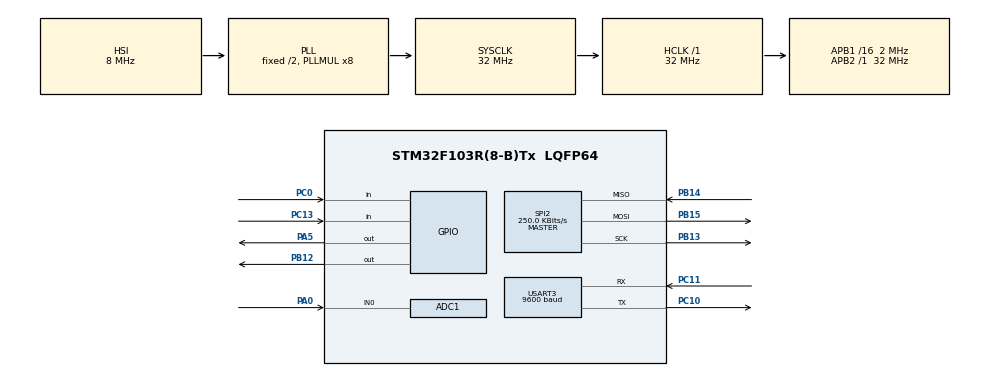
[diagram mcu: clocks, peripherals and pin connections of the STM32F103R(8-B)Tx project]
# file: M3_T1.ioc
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ADC1.Channel-1\#ChannelRegularConversion=ADC_CHANNEL_0
ADC1.ContinuousConvMode=DISABLE
ADC1.EnableRegularConversion=ENABLE
ADC1.NbrOfConversionFlag=1
ADC1.Rank-1\#ChannelRegularConversion=1
ADC1.SamplingTime-1\#ChannelRegularConversion=ADC_SAMPLETIME_1CYCLE_5
ADC1.master=1
Mcu.Family=STM32F1
Mcu.Name=STM32F103R(8-B)Tx
Mcu.Package=LQFP64
NVIC.ADC1_2_IRQn=true\:0\:0\:false\:false\:true\:true\:true\:true
NVIC.PriorityGroup=NVIC_PRIORITYGROUP_4
NVIC.SPI2_IRQn=true\:0\:0\:false\:false\:true\:true\:true\:true
NVIC.USART3_IRQn=true\:0\:0\:false\:false\:true\:true\:true\:true
PA0-WKUP.Signal=ADCx_IN0
PA5.Signal=GPIO_Output
PB12.Signal=GPIO_Output
PB13.Mode=Full_Duplex_Master
PB13.Signal=SPI2_SCK
PB14.Mode=Full_Duplex_Master
PB14.Signal=SPI2_MISO
PB15.Mode=Full_Duplex_Master
PB15.Signal=SPI2_MOSI
PC0.GPIO_PuPd=GPIO_PULLUP
PC0.Signal=GPIO_Input
PC10.Mode=Asynchronous
PC10.Signal=USART3_TX
PC11.Mode=Asynchronous
PC11.Signal=USART3_RX
PC13-TAMPER-RTC.Signal=GPIO_Input
ProjectManager.HeapSize=0x200
ProjectManager.StackSize=0x400
ProjectManager.TargetToolchain=STM32CubeIDE
RCC.ADCPresc=RCC_ADCPCLK2_DIV4
RCC.AHBFreq_Value=32000000
RCC.APB1CLKDivider=RCC_HCLK_DIV16
RCC.APB1Freq_Value=2000000
RCC.APB1TimFreq_Value=4000000
RCC.APB2Freq_Value=32000000
RCC.APB2TimFreq_Value=32000000
RCC.HCLKFreq_Value=32000000
RCC.PLLMUL=RCC_PLL_MUL8
RCC.SYSCLKFreq_VALUE=32000000
RCC.SYSCLKSource=RCC_SYSCLKSOURCE_PLLCLK
RCC.USBFreq_Value=32000000
SH.ADCx_IN0.0=ADC1_IN0,IN0
SPI2.BaudRatePrescaler=SPI_BAUDRATEPRESCALER_8
SPI2.CLKPhase=SPI_PHASE_1EDGE
SPI2.CLKPolarity=SPI_POLARITY_LOW
SPI2.CalculateBaudRate=250.0 KBits/s
SPI2.Direction=SPI_DIRECTION_2LINES
SPI2.Mode=SPI_MODE_MASTER
SPI2.VirtualType=VM_MASTER
USART3.BaudRate=9600
USART3.VirtualMode=VM_ASYNC
VP_SYS_VS_ND.Mode=No_Debug
board=custom

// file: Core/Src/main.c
/* USER CODE BEGIN Header */
/**
  ******************************************************************************
  * @file           : main.c
  * @brief          : Main program body
  ******************************************************************************
  * @attention
  *
  * Copyright (c) 2023 STMicroelectronics.
  * All rights reserved.
  *
  * This software is licensed under terms that can be found in the LICENSE file
  * in the root directory of this software component.
  * If no LICENSE file comes with this software, it is provided AS-IS.
  *
  ******************************************************************************
  */
/* USER CODE END Header */
#include "main.h"
#include "adc.h"
#include "spi.h"
#include "usart.h"
#include "gpio.h"

void SystemClock_Config(void);

int main(void)
{
  /* USER CODE BEGIN 1 */
  GPIO_PinState button1, button2;
  /* USER CODE END 1 */

  /* MCU Configuration--------------------------------------------------------*/

  /* Reset of all peripherals, Initializes the Flash interface and the Systick. */
  HAL_Init();

  /* Configure the system clock */
  SystemClock_Config();

  /* Initialize all configured peripherals */
  MX_GPIO_Init();
  MX_USART3_UART_Init();
  MX_ADC1_Init();
  MX_SPI2_Init();
  /* USER CODE BEGIN 2 */
  // ADC callback
  HAL_ADC_RegisterCallback(&hadc1, HAL_ADC_CONVERSION_COMPLETE_CB_ID, AdcConversionCallback);
  // UART callbacks
  HAL_UART_RegisterCallback(&huart3, HAL_UART_RX_COMPLETE_CB_ID, UartRxCallback);
  HAL_UART_RegisterCallback(&huart3, HAL_UART_TX_COMPLETE_CB_ID, UartTxCallback);
  // SPI callback
  HAL_SPI_RegisterCallback(&hspi2, HAL_SPI_RX_COMPLETE_CB_ID, SpiRxCallback);
  HAL_SPI_RegisterCallback(&hspi2, HAL_SPI_TX_COMPLETE_CB_ID, SpiTxCallback);
  HAL_SPI_RegisterCallback(&hspi2, HAL_SPI_TX_RX_COMPLETE_CB_ID, SpiTxRxCallback);
  // Enable RX interrupt
  HAL_UART_Receive_IT(&huart3, &UartRxValue, 1);
  /* USER CODE END 2 */

  /* Infinite loop */
  /* USER CODE BEGIN WHILE */
  // Disable SPI CS
  SpiChipSelectDisable();
  // Trigger AD conversion
  TriggerAdcInt();
  while (1)
  {

	  if(AdcValueReady)
	  {
		  AdcValueReady = false;
		  // Buffer AD converted value
		  ConsoleDataStream.AdcValue = AdcConvertValue(AdcSampleValue);
		  // Trigger ADC conversion
		  TriggerAdcInt();
	  }

	  // Read SPI value, convert it and buffer it
	  ConsoleDataStream.SpiValue = SpiConvertValue(TestSpi());

	  ConsoleDebugDataSend();

      // USER button
	  button1 = HAL_GPIO_ReadPin(GPIOC, GPIO_PIN_13);
	  button2 = HAL_GPIO_ReadPin(GPIOC, GPIO_PIN_0);
	  if((button1 == GPIO_PIN_RESET) || (button2 == GPIO_PIN_RESET))
	  {
		  // USER led
		  HAL_GPIO_TogglePin(GPIOA, GPIO_PIN_5);
	  }

	  HAL_Delay(100);

    /* USER CODE END WHILE */

  }
}

void SystemClock_Config(void)
{
  RCC_OscInitTypeDef RCC_OscInitStruct = {0};
  RCC_ClkInitTypeDef RCC_ClkInitStruct = {0};
  RCC_PeriphCLKInitTypeDef PeriphClkInit = {0};

  /** Initializes the RCC Oscillators according to the specified parameters
  * in the RCC_OscInitTypeDef structure.
  */
  RCC_OscInitStruct.OscillatorType = RCC_OSCILLATORTYPE_HSI;
  RCC_OscInitStruct.HSIState = RCC_HSI_ON;
  RCC_OscInitStruct.HSICalibrationValue = RCC_HSICALIBRATION_DEFAULT;
  RCC_OscInitStruct.PLL.PLLState = RCC_PLL_ON;
  RCC_OscInitStruct.PLL.PLLSource = RCC_PLLSOURCE_HSI_DIV2;
  RCC_OscInitStruct.PLL.PLLMUL = RCC_PLL_MUL8;
  if (HAL_RCC_OscConfig(&RCC_OscInitStruct) != HAL_OK)
  {
    Error_Handler();
  }

  /** Initializes the CPU, AHB and APB buses clocks
  */
  RCC_ClkInitStruct.ClockType = RCC_CLOCKTYPE_HCLK|RCC_CLOCKTYPE_SYSCLK
                              |RCC_CLOCKTYPE_PCLK1|RCC_CLOCKTYPE_PCLK2;
  RCC_ClkInitStruct.SYSCLKSource = RCC_SYSCLKSOURCE_PLLCLK;
  RCC_ClkInitStruct.AHBCLKDivider = RCC_SYSCLK_DIV1;
  RCC_ClkInitStruct.APB1CLKDivider = RCC_HCLK_DIV16;
  RCC_ClkInitStruct.APB2CLKDivider = RCC_HCLK_DIV1;

  if (HAL_RCC_ClockConfig(&RCC_ClkInitStruct, FLASH_LATENCY_1) != HAL_OK)
  {
    Error_Handler();
  }
  PeriphClkInit.PeriphClockSelection = RCC_PERIPHCLK_ADC;
  PeriphClkInit.AdcClockSelection = RCC_ADCPCLK2_DIV4;
  if (HAL_RCCEx_PeriphCLKConfig(&PeriphClkInit) != HAL_OK)
  {
    Error_Handler();
  }
}

void Error_Handler(void)
{
  __disable_irq();
  while (1)
  {
  }
}
